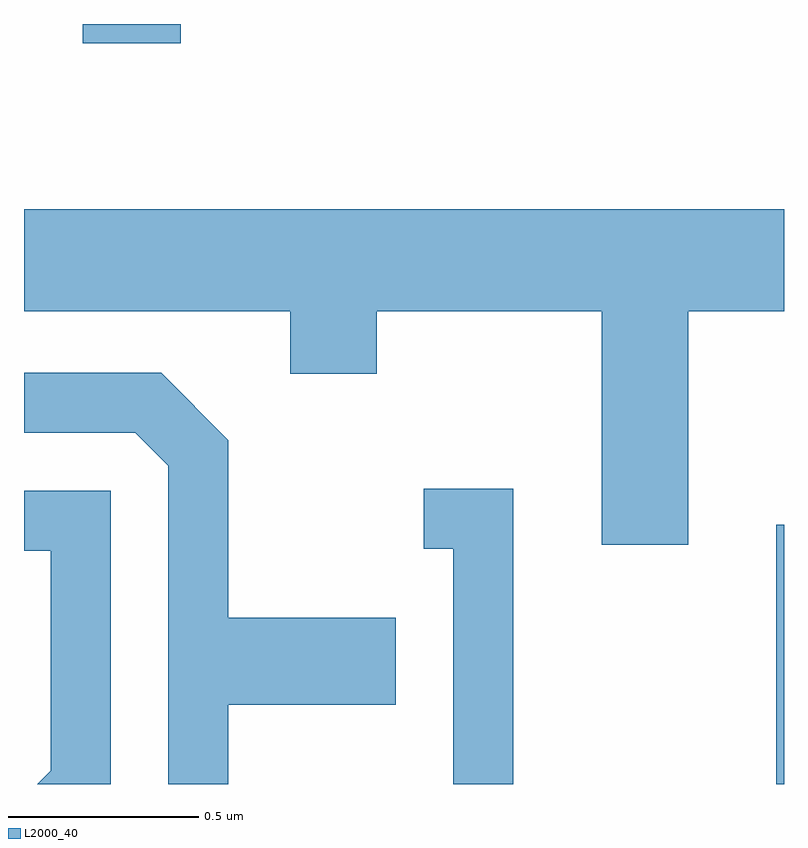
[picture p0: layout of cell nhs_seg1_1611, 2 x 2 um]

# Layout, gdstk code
import gdstk
lib = gdstk.Library(unit=1e-6, precision=1e-09)
def R(c, l, rs):  # rectangles x0, y0, x1, y1
    for r in rs: c.add(gdstk.rectangle(r[:2], r[2:], *l))
def P(c, l, *ps):  # polygons
    for p in ps: c.add(gdstk.Polygon(p, *l))
L2000_40 = (2000, 40)

nhs_seg1_1611 = lib.new_cell('nhs_seg1_1611')
R(nhs_seg1_1611, L2000_40, [(198.591,962.712,198.611,963.394), (196.766,964.661,197.024,964.712)])
P(nhs_seg1_1611, L2000_40, [(198.359,963.956),(198.611,963.956),(198.611,964.224),(196.611,964.224),(196.611,963.956),(197.311,963.956),(197.311,963.791),(197.539,963.791),(197.539,963.956),(198.131,963.956),(198.131,963.341),(198.359,963.341)],
  [(197.149,962.921),(197.589,962.921),(197.589,963.149),(197.149,963.149),(197.149,963.617),(196.972,963.794),(196.611,963.794),(196.611,963.636),(196.904,963.636),(196.991,963.549),(196.991,962.712),(197.149,962.712)],
  [(197.899,963.489),(197.663,963.489),(197.663,963.331),(197.741,963.331),(197.741,962.712),(197.899,962.712)],
  [(196.839,963.484),(196.611,963.484),(196.611,963.326),(196.681,963.326),(196.681,962.747),(196.646,962.712),(196.839,962.712)])

lib.write_gds('nhs_seg1_1611.gds')
